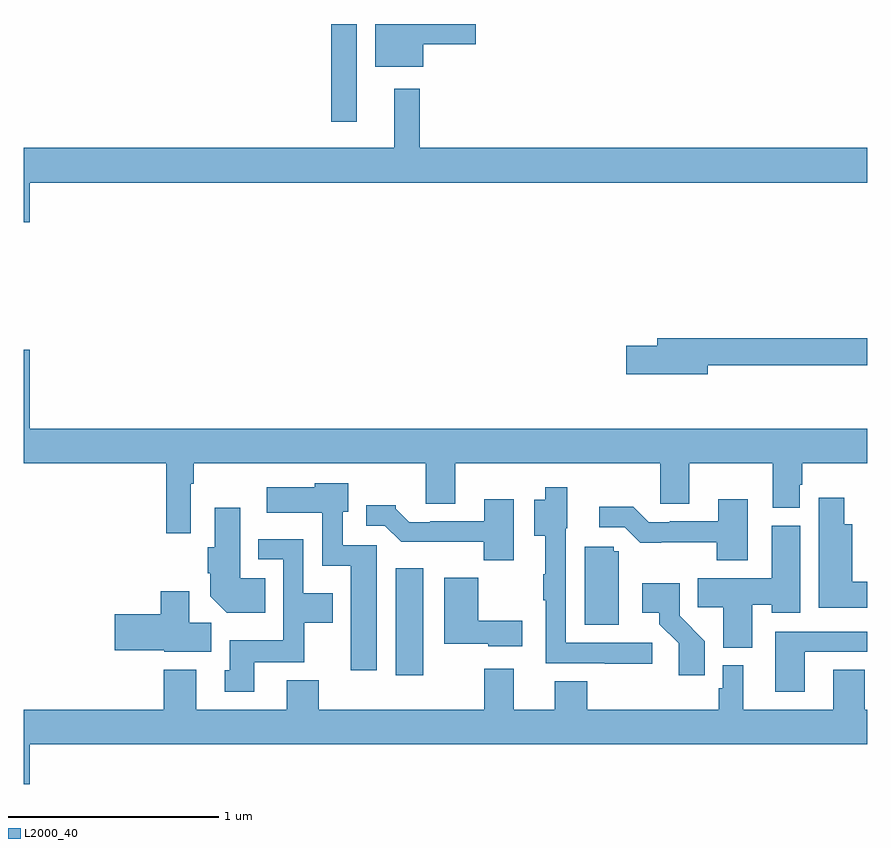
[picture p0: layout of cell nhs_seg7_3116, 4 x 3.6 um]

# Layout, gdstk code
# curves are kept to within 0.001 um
import gdstk
lib = gdstk.Library(unit=1e-6, precision=1e-09)
def R(c, l, rs):  # rectangles x0, y0, x1, y1
    for r in rs: c.add(gdstk.rectangle(r[:2], r[2:], *l))
def P(c, l, *ps):  # polygons
    for p in ps: c.add(gdstk.Polygon(p, *l))
L2000_40 = (2000, 40)

nhs_seg7_3116 = lib.new_cell('nhs_seg7_3116')
R(nhs_seg7_3116, L2000_40, [(310.763,1032.912,310.894,1033.42), (310.458,1035.537,310.579,1036)])
P(nhs_seg7_3116, L2000_40, [(310.894,1035.904),(311.143,1035.904),(311.143,1036),(310.667,1036),(310.667,1035.797),(310.894,1035.797)],
  [(309.028,1035.248),(313,1035.248),(313,1035.412),(310.879,1035.412),(310.879,1035.694),(310.757,1035.694),(310.757,1035.412),(309,1035.412),(309,1035.06),(309.028,1035.06)],
  [(312.244,1034.382),(313,1034.382),(313,1034.51),(312.005,1034.51),(312.005,1034.474),(311.856,1034.474),(311.856,1034.339),(312.244,1034.339)],
  [(309.792,1033.82),(309.805,1033.82),(309.805,1033.916),(310.907,1033.916),(310.907,1033.726),(311.047,1033.726),(311.047,1033.916),(312.018,1033.916),(312.018,1033.726),(312.157,1033.726),(312.157,1033.916),(312.551,1033.916),(312.551,1033.705),(312.679,1033.705),(312.679,1033.815),(312.692,1033.815),(312.692,1033.916),(313,1033.916),(313,1034.08),(309.028,1034.08),(309.028,1034.455),(309,1034.455),(309,1033.916),(309.676,1033.916),(309.676,1033.584),(309.792,1033.584)],
  [(310.675,1033.527),(310.512,1033.527),(310.512,1033.686),(310.54,1033.686),(310.54,1033.822),(310.38,1033.822),(310.38,1033.804),(310.152,1033.804),(310.152,1033.682),(310.416,1033.682),(310.416,1033.43),(310.55,1033.43),(310.55,1032.936),(310.675,1032.936)],
  [(311.98,1033.065),(311.571,1033.065),(311.571,1033.608),(311.578,1033.608),(311.578,1033.804),(311.474,1033.804),(311.474,1033.744),(311.42,1033.744),(311.42,1033.574),(311.474,1033.574),(311.474,1033.39),(311.463,1033.39),(311.463,1033.267),(311.475,1033.267),(311.475,1032.969),(311.755,1032.969),(311.755,1032.967),(311.98,1032.967)],
  [(313,1033.354),(312.928,1033.354),(312.928,1033.627),(312.892,1033.627),(312.892,1033.753),(312.77,1033.753),(312.77,1033.232),(313,1033.232)],
  [(312.433,1033.747),(312.293,1033.747),(312.293,1033.641),(312.064,1033.641),(312.064,1033.638),(311.964,1033.638),(311.891,1033.711),(311.73,1033.711),(311.73,1033.614),(311.85,1033.614),(311.923,1033.541),(312.286,1033.542),(312.286,1033.457),(312.433,1033.457)],
  [(311.323,1033.747),(311.183,1033.747),(311.183,1033.641),(310.927,1033.641),(310.927,1033.638),(310.828,1033.638),(310.764,1033.702),(310.764,1033.717),(310.625,1033.717),(310.625,1033.62),(310.713,1033.62),(310.789,1033.544),(311.181,1033.544),(311.181,1033.457),(311.323,1033.457)],
  [(310.145,1033.372),(310.027,1033.372),(310.027,1033.705),(309.905,1033.705),(309.905,1033.518),(309.872,1033.518),(309.872,1033.396),(309.884,1033.396),(309.884,1033.286),(309.962,1033.208),(310.145,1033.208)],
  [(312.454,1033.247),(312.548,1033.247),(312.548,1033.208),(312.682,1033.208),(312.682,1033.62),(312.548,1033.62),(312.548,1033.372),(312.196,1033.372),(312.196,1033.234),(312.317,1033.234),(312.317,1033.043),(312.454,1033.043)],
  [(310.093,1032.974),(310.329,1032.974),(310.329,1033.16),(310.465,1033.16),(310.465,1033.3),(310.326,1033.3),(310.326,1033.557),(310.113,1033.557),(310.113,1033.461),(310.23,1033.461),(310.23,1033.078),(309.977,1033.078),(309.977,1032.936),(309.953,1032.936),(309.953,1032.834),(310.093,1032.834)],
  [(311.821,1033.5),(311.799,1033.5),(311.799,1033.521),(311.66,1033.521),(311.66,1033.152),(311.821,1033.152)],
  [(311.365,1033.171),(311.156,1033.171),(311.156,1033.375),(310.994,1033.375),(310.994,1033.061),(311.202,1033.061),(311.202,1033.049),(311.365,1033.049)],
  [(312.23,1033.074),(312.111,1033.193),(312.111,1033.348),(311.934,1033.348),(311.934,1033.208),(312.014,1033.208),(312.014,1033.153),(312.105,1033.063),(312.105,1032.912),(312.23,1032.912)],
  [(309.889,1033.16),(309.784,1033.16),(309.784,1033.309),(309.65,1033.309),(309.65,1033.202),(309.432,1033.202),(309.432,1033.031),(309.666,1033.031),(309.666,1033.022),(309.889,1033.022)],
  [(312.703,1033.023),(313,1033.023),(313,1033.119),(312.563,1033.119),(312.563,1032.834),(312.703,1032.834)],
  [(309.028,1032.584),(313,1032.584),(313,1032.748),(312.987,1032.748),(312.987,1032.938),(312.839,1032.938),(312.839,1032.748),(312.412,1032.748),(312.412,1032.958),(312.315,1032.958),(312.315,1032.849),(312.295,1032.849),(312.295,1032.748),(311.672,1032.748),(311.672,1032.884),(311.519,1032.884),(311.519,1032.748),(311.323,1032.748),(311.323,1032.943),(311.183,1032.943),(311.183,1032.748),(310.4,1032.748),(310.4,1032.889),(310.247,1032.889),(310.247,1032.748),(309.817,1032.748),(309.817,1032.937),(309.665,1032.937),(309.665,1032.748),(309,1032.748),(309,1032.396),(309.028,1032.396)])

lib.write_gds('nhs_seg7_3116.gds')
